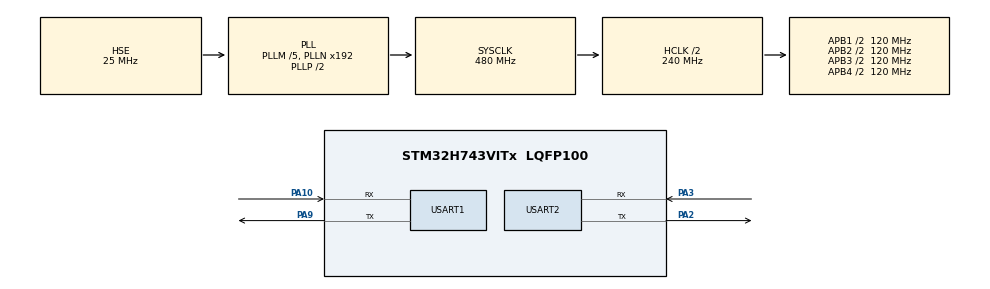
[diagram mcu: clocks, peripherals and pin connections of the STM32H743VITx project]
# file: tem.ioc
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CORTEX_M7.AccessPermission-Cortex_Memory_Protection_Unit_Region0_Settings=MPU_REGION_FULL_ACCESS
CORTEX_M7.AccessPermission-Cortex_Memory_Protection_Unit_Region1_Settings=MPU_REGION_FULL_ACCESS
CORTEX_M7.AccessPermission-Cortex_Memory_Protection_Unit_Region2_Settings=MPU_REGION_FULL_ACCESS
CORTEX_M7.AccessPermission-Cortex_Memory_Protection_Unit_Region3_Settings=MPU_REGION_FULL_ACCESS
CORTEX_M7.AccessPermission-Cortex_Memory_Protection_Unit_Region4_Settings=MPU_REGION_FULL_ACCESS
CORTEX_M7.BaseAddress-Cortex_Memory_Protection_Unit_Region0_Settings=0x24000000
CORTEX_M7.BaseAddress-Cortex_Memory_Protection_Unit_Region1_Settings=0x30000000
CORTEX_M7.BaseAddress-Cortex_Memory_Protection_Unit_Region2_Settings=0x30020000
CORTEX_M7.BaseAddress-Cortex_Memory_Protection_Unit_Region3_Settings=0x30040000
CORTEX_M7.BaseAddress-Cortex_Memory_Protection_Unit_Region4_Settings=0x38000000
CORTEX_M7.CPU_DCache=Enabled
CORTEX_M7.CPU_ICache=Enabled
CORTEX_M7.Enable-Cortex_Memory_Protection_Unit_Region0_Settings=MPU_REGION_ENABLE
CORTEX_M7.Enable-Cortex_Memory_Protection_Unit_Region1_Settings=MPU_REGION_ENABLE
CORTEX_M7.Enable-Cortex_Memory_Protection_Unit_Region2_Settings=MPU_REGION_ENABLE
CORTEX_M7.Enable-Cortex_Memory_Protection_Unit_Region3_Settings=MPU_REGION_ENABLE
CORTEX_M7.Enable-Cortex_Memory_Protection_Unit_Region4_Settings=MPU_REGION_ENABLE
CORTEX_M7.IsBufferable-Cortex_Memory_Protection_Unit_Region0_Settings=MPU_ACCESS_BUFFERABLE
CORTEX_M7.IsCacheable-Cortex_Memory_Protection_Unit_Region0_Settings=MPU_ACCESS_CACHEABLE
CORTEX_M7.MPU_Control=MPU_PRIVILEGED_DEFAULT
CORTEX_M7.Size-Cortex_Memory_Protection_Unit_Region0_Settings=MPU_REGION_SIZE_512KB
CORTEX_M7.Size-Cortex_Memory_Protection_Unit_Region1_Settings=MPU_REGION_SIZE_128KB
CORTEX_M7.Size-Cortex_Memory_Protection_Unit_Region2_Settings=MPU_REGION_SIZE_128KB
CORTEX_M7.Size-Cortex_Memory_Protection_Unit_Region3_Settings=MPU_REGION_SIZE_32KB
CORTEX_M7.Size-Cortex_Memory_Protection_Unit_Region4_Settings=MPU_REGION_SIZE_64KB
CORTEX_M7.TypeExtField-Cortex_Memory_Protection_Unit_Region0_Settings=MPU_TEX_LEVEL1
CORTEX_M7.TypeExtField-Cortex_Memory_Protection_Unit_Region1_Settings=MPU_TEX_LEVEL1
CORTEX_M7.TypeExtField-Cortex_Memory_Protection_Unit_Region2_Settings=MPU_TEX_LEVEL1
CORTEX_M7.TypeExtField-Cortex_Memory_Protection_Unit_Region3_Settings=MPU_TEX_LEVEL1
CORTEX_M7.TypeExtField-Cortex_Memory_Protection_Unit_Region4_Settings=MPU_TEX_LEVEL1
Mcu.Family=STM32H7
Mcu.Name=STM32H743VITx
Mcu.Package=LQFP100
NVIC.PriorityGroup=NVIC_PRIORITYGROUP_4
NVIC.USART1_IRQn=true\:0\:0\:false\:false\:true\:true\:true\:true
NVIC.USART2_IRQn=true\:0\:0\:false\:false\:true\:true\:true\:true
PA10.Mode=Asynchronous
PA10.Signal=USART1_RX
PA13\ (JTMS/SWDIO).Mode=Serial_Wire
PA13\ (JTMS/SWDIO).Signal=DEBUG_JTMS-SWDIO
PA14\ (JTCK/SWCLK).Mode=Serial_Wire
PA14\ (JTCK/SWCLK).Signal=DEBUG_JTCK-SWCLK
PA2.Mode=Asynchronous
PA2.Signal=USART2_TX
PA3.Mode=Asynchronous
PA3.Signal=USART2_RX
PA9.Mode=Asynchronous
PA9.Signal=USART1_TX
PH0-OSC_IN\ (PH0).Mode=HSE-External-Oscillator
PH0-OSC_IN\ (PH0).Signal=RCC_OSC_IN
PH1-OSC_OUT\ (PH1).Mode=HSE-External-Oscillator
PH1-OSC_OUT\ (PH1).Signal=RCC_OSC_OUT
ProjectManager.HeapSize=0x200
ProjectManager.StackSize=0x7400
ProjectManager.TargetToolchain=MDK-ARM V5.32
RCC.ADCFreq_Value=50390625
RCC.APB1Freq_Value=120000000
RCC.APB2Freq_Value=120000000
RCC.APB3Freq_Value=120000000
RCC.APB4Freq_Value=120000000
RCC.CortexFreq_Value=480000000
RCC.D1PPRE=RCC_APB3_DIV2
RCC.D2PPRE1=RCC_APB1_DIV2
RCC.D2PPRE2=RCC_APB2_DIV2
RCC.D3PPRE=RCC_APB4_DIV2
RCC.DIVM1=5
RCC.DIVN1=192
RCC.HCLKFreq_Value=240000000
RCC.HPRE=RCC_HCLK_DIV2
RCC.HSE_VALUE=25000000
RCC.PLLSourceVirtual=RCC_PLLSOURCE_HSE
RCC.PWR_Regulator_Voltage_Scale=PWR_REGULATOR_VOLTAGE_SCALE0
RCC.ProductRev=revV
RCC.SYSCLKFreq_VALUE=480000000
RCC.SYSCLKSource=RCC_SYSCLKSOURCE_PLLCLK
RCC.USBFreq_Value=480000000
TIM6.Prescaler=240-1
TIM7.Prescaler=239
USART1.VirtualMode-Asynchronous=VM_ASYNC
USART2.VirtualMode-Asynchronous=VM_ASYNC
VP_TIM6_VS_ClockSourceINT.Mode=Enable_Timer
VP_TIM7_VS_ClockSourceINT.Mode=Enable_Timer
board=custom

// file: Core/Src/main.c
/* USER CODE BEGIN Header */
/**
  ******************************************************************************
  * @file           : main.c
  * @brief          : Main program body
  ******************************************************************************
  * @attention
  *
  * Copyright (c) 2025 STMicroelectronics.
  * All rights reserved.
  *
  * This software is licensed under terms that can be found in the LICENSE file
  * in the root directory of this software component.
  * If no LICENSE file comes with this software, it is provided AS-IS.
  *
  ******************************************************************************
  */
/* USER CODE END Header */
#include "main.h"
#include "tim.h"
#include "usart.h"
#include "gpio.h"

/* USER CODE BEGIN Includes */
#include "AllHeader.h"
/* USER CODE END Includes */

/* USER CODE BEGIN PV */
atk_ms601m_attitude_data_t attitude_dat;
atk_ms601m_gyro_data_t gyro_dat;
atk_ms601m_accelerometer_data_t accelerometer_dat;
char message[256];
/* USER CODE END PV */

void SystemClock_Config(void);
static void MPU_Initialize(void);
static void MPU_Config(void);
/* USER CODE BEGIN PFP */
void delay_us_hal(uint16_t nus);
/* USER CODE END PFP */

int main(void)
{

  /* Enable I-Cache---------------------------------------------------------*/
  SCB_EnableICache();

  /* Enable D-Cache---------------------------------------------------------*/
  SCB_EnableDCache();

  /* MCU Configuration--------------------------------------------------------*/

  /* Reset of all peripherals, Initializes the Flash interface and the Systick. */
  HAL_Init();

  /* MPU Configuration--------------------------------------------------------*/
  MPU_Config();

  /* Configure the system clock */
  SystemClock_Config();

  /* Initialize all configured peripherals */
  MX_GPIO_Init();
  MX_TIM7_Init();
  MX_USART1_UART_Init();
  MX_USART2_UART_Init();
  MX_TIM6_Init();
  /* USER CODE BEGIN 2 */
	atk_ms601m_init(115200);
  /* USER CODE END 2 */

  /* Infinite loop */
  /* USER CODE BEGIN WHILE */
  while (1)
  {
		/* ��ȡ���������� */
    atk_ms601m_get_attitude(&attitude_dat, 100);                            /* ��̬�� */
    atk_ms601m_get_gyro_accelerometer(&gyro_dat, &accelerometer_dat, 100);  /* �����Ǻͼ��ٶ� */

		 /* 串口打印数据 */
		int message_len = snprintf(message, sizeof(message),
															 "Roll: %.02f', Pitch: %.02f', Yaw: %.02f'\r\n"
															 "Gx: %.02f'/s, Gy: %.02f'/s, Gz: %.02f'/s\r\n"
															 "Ax: %.02fG, Ay: %.02fG, Az: %.02fG\r\n"
															 "****************************************\r\n\r\n",
															 attitude_dat.roll, attitude_dat.pitch, attitude_dat.yaw,
															 gyro_dat.x, gyro_dat.y, gyro_dat.z,
															 accelerometer_dat.x, accelerometer_dat.y, accelerometer_dat.z);
		if (message_len > 0)
				HAL_UART_Transmit(&huart1, (uint8_t *)message, message_len, HAL_MAX_DELAY);
		HAL_Delay(2000);

    /* USER CODE END WHILE */

  }
}

void SystemClock_Config(void)
{
  RCC_OscInitTypeDef RCC_OscInitStruct = {0};
  RCC_ClkInitTypeDef RCC_ClkInitStruct = {0};

  /** Supply configuration update enable
  */
  HAL_PWREx_ConfigSupply(PWR_LDO_SUPPLY);

  /** Configure the main internal regulator output voltage
  */
  __HAL_PWR_VOLTAGESCALING_CONFIG(PWR_REGULATOR_VOLTAGE_SCALE1);

  while(!__HAL_PWR_GET_FLAG(PWR_FLAG_VOSRDY)) {}

  __HAL_RCC_SYSCFG_CLK_ENABLE();
  __HAL_PWR_VOLTAGESCALING_CONFIG(PWR_REGULATOR_VOLTAGE_SCALE0);

  while(!__HAL_PWR_GET_FLAG(PWR_FLAG_VOSRDY)) {}

  /** Initializes the RCC Oscillators according to the specified parameters
  * in the RCC_OscInitTypeDef structure.
  */
  RCC_OscInitStruct.OscillatorType = RCC_OSCILLATORTYPE_HSE;
  RCC_OscInitStruct.HSEState = RCC_HSE_ON;
  RCC_OscInitStruct.PLL.PLLState = RCC_PLL_ON;
  RCC_OscInitStruct.PLL.PLLSource = RCC_PLLSOURCE_HSE;
  RCC_OscInitStruct.PLL.PLLM = 5;
  RCC_OscInitStruct.PLL.PLLN = 192;
  RCC_OscInitStruct.PLL.PLLP = 2;
  RCC_OscInitStruct.PLL.PLLQ = 2;
  RCC_OscInitStruct.PLL.PLLR = 2;
  RCC_OscInitStruct.PLL.PLLRGE = RCC_PLL1VCIRANGE_2;
  RCC_OscInitStruct.PLL.PLLVCOSEL = RCC_PLL1VCOWIDE;
  RCC_OscInitStruct.PLL.PLLFRACN = 0;
  if (HAL_RCC_OscConfig(&RCC_OscInitStruct) != HAL_OK)
  {
    Error_Handler();
  }

  /** Initializes the CPU, AHB and APB buses clocks
  */
  RCC_ClkInitStruct.ClockType = RCC_CLOCKTYPE_HCLK|RCC_CLOCKTYPE_SYSCLK
                              |RCC_CLOCKTYPE_PCLK1|RCC_CLOCKTYPE_PCLK2
                              |RCC_CLOCKTYPE_D3PCLK1|RCC_CLOCKTYPE_D1PCLK1;
  RCC_ClkInitStruct.SYSCLKSource = RCC_SYSCLKSOURCE_PLLCLK;
  RCC_ClkInitStruct.SYSCLKDivider = RCC_SYSCLK_DIV1;
  RCC_ClkInitStruct.AHBCLKDivider = RCC_HCLK_DIV2;
  RCC_ClkInitStruct.APB3CLKDivider = RCC_APB3_DIV2;
  RCC_ClkInitStruct.APB1CLKDivider = RCC_APB1_DIV2;
  RCC_ClkInitStruct.APB2CLKDivider = RCC_APB2_DIV2;
  RCC_ClkInitStruct.APB4CLKDivider = RCC_APB4_DIV2;

  if (HAL_RCC_ClockConfig(&RCC_ClkInitStruct, FLASH_LATENCY_4) != HAL_OK)
  {
    Error_Handler();
  }
}

/* USER CODE BEGIN 4 */
//微秒级延时，用于�?螺仪传输
void delay_us_hal(uint16_t nus)
{
    __HAL_TIM_SET_COUNTER(&htim6, 0); // 计数器清�?
    HAL_TIM_Base_Start(&htim6);       // 启动定时�?
    while (__HAL_TIM_GET_COUNTER(&htim6) < nus); // 等待计数达到nus
    HAL_TIM_Base_Stop(&htim6);        // 停止定时�?
}
/* USER CODE END 4 */

/* MPU Configuration */

void MPU_Config(void)
{
  MPU_Region_InitTypeDef MPU_InitStruct = {0};

  /* Disables the MPU */
  HAL_MPU_Disable();

  /** Initializes and configures the Region and the memory to be protected
  */
  MPU_InitStruct.Enable = MPU_REGION_ENABLE;
  MPU_InitStruct.Number = MPU_REGION_NUMBER0;
  MPU_InitStruct.BaseAddress = 0x24000000;
  MPU_InitStruct.Size = MPU_REGION_SIZE_512KB;
  MPU_InitStruct.SubRegionDisable = 0x0;
  MPU_InitStruct.TypeExtField = MPU_TEX_LEVEL1;
  MPU_InitStruct.AccessPermission = MPU_REGION_FULL_ACCESS;
  MPU_InitStruct.DisableExec = MPU_INSTRUCTION_ACCESS_ENABLE;
  MPU_InitStruct.IsShareable = MPU_ACCESS_NOT_SHAREABLE;
  MPU_InitStruct.IsCacheable = MPU_ACCESS_CACHEABLE;
  MPU_InitStruct.IsBufferable = MPU_ACCESS_BUFFERABLE;

  HAL_MPU_ConfigRegion(&MPU_InitStruct);

  /** Initializes and configures the Region and the memory to be protected
  */
  MPU_InitStruct.Number = MPU_REGION_NUMBER1;
  MPU_InitStruct.BaseAddress = 0x30000000;
  MPU_InitStruct.Size = MPU_REGION_SIZE_128KB;
  MPU_InitStruct.IsCacheable = MPU_ACCESS_NOT_CACHEABLE;
  MPU_InitStruct.IsBufferable = MPU_ACCESS_NOT_BUFFERABLE;

  HAL_MPU_ConfigRegion(&MPU_InitStruct);

  /** Initializes and configures the Region and the memory to be protected
  */
  MPU_InitStruct.Number = MPU_REGION_NUMBER2;
  MPU_InitStruct.BaseAddress = 0x30020000;

  HAL_MPU_ConfigRegion(&MPU_InitStruct);

  /** Initializes and configures the Region and the memory to be protected
  */
  MPU_InitStruct.Number = MPU_REGION_NUMBER3;
  MPU_InitStruct.BaseAddress = 0x30040000;
  MPU_InitStruct.Size = MPU_REGION_SIZE_32KB;

  HAL_MPU_ConfigRegion(&MPU_InitStruct);

  /** Initializes and configures the Region and the memory to be protected
  */
  MPU_InitStruct.Number = MPU_REGION_NUMBER4;
  MPU_InitStruct.BaseAddress = 0x38000000;
  MPU_InitStruct.Size = MPU_REGION_SIZE_64KB;

  HAL_MPU_ConfigRegion(&MPU_InitStruct);
  /* Enables the MPU */
  HAL_MPU_Enable(MPU_PRIVILEGED_DEFAULT);

}

void Error_Handler(void)
{
  __disable_irq();
  while (1)
  {
  }
}
